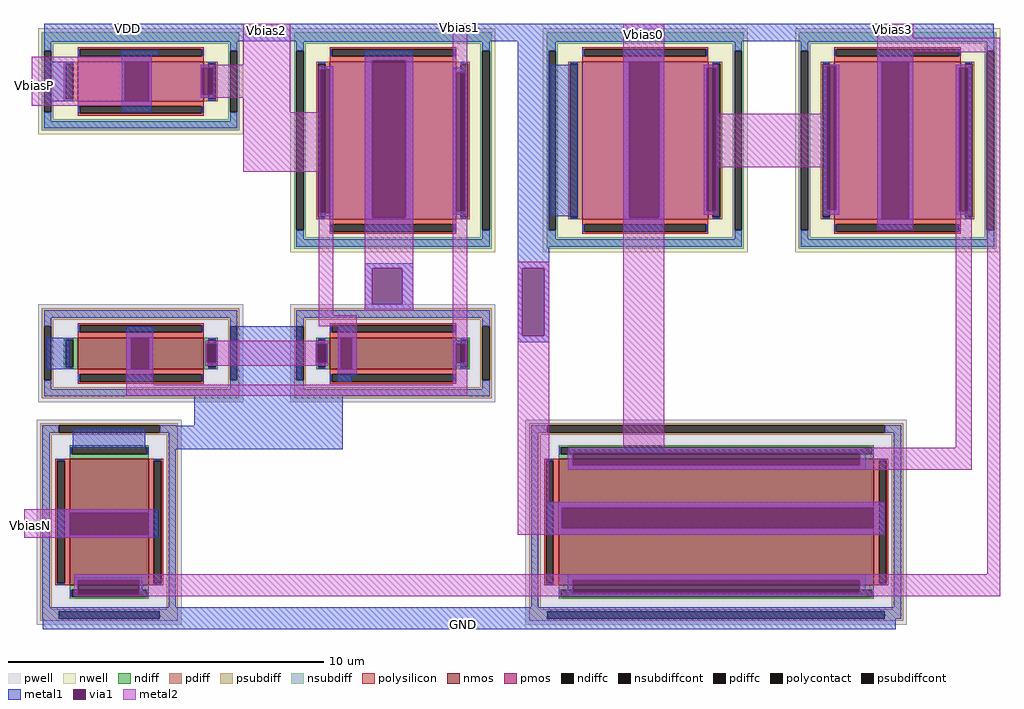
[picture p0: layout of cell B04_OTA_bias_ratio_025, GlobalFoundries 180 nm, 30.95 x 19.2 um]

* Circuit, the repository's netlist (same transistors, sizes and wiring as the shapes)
** sch_path: /foss/designs/AURA-Event-Driven-Mixed-Signal-ASIC-for-Acoustic-Pattern-Detection/analog/B04_OTA_bias_ratio_025.sch
.subckt B04_OTA_bias_ratio_025 VDD Vbias2 Vbias1 Vbias0 Vbias3 GND VbiasP VbiasN
*.PININFO VDD:B Vbias2:O Vbias1:O Vbias0:O Vbias3:O GND:B VbiasP:I VbiasN:I
M1 Vbias1 GND Vbias2 VDD pfet_03v3 L=4u W=5u nf=1
M4 Vbias1 Vbias2 net1 GND nfet_03v3 L=4u W=1u nf=1
M5 net1 Vbias1 GND GND nfet_03v3 L=4u W=1u nf=1
M9 net2 Vbias3 Vbias0 VDD pfet_03v3 L=4u W=5u nf=1
M10 VDD Vbias0 net2 VDD pfet_03v3 L=4u W=5u nf=1
M6 Vbias3 VDD Vbias0 GND nfet_03v3 L=4u W=10u nf=1
M2 Vbias2 VbiasP VDD VDD pfet_03v3 L=4u W=1.25u nf=1
M3 GND VbiasN Vbias3 GND nfet_03v3 L=4u W=2.5u nf=1
.ends

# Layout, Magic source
magic
tech gf180mcuD
magscale 1 2
<< pwell >>
rect 192 -156 200 -150
<< metal1 >>
rect -12 256 1192 278
rect 84 238 132 244
rect 86 230 124 238
rect -10 180 18 230
rect 86 180 90 230
rect 120 180 124 230
rect 394 232 456 244
rect 186 222 204 226
rect 186 188 188 222
rect 202 188 204 222
rect 186 184 204 188
rect 336 220 354 224
rect 86 166 124 180
rect 336 38 338 220
rect 350 38 354 220
rect 336 34 354 38
rect 394 32 404 232
rect 446 32 456 232
rect 506 216 520 222
rect 506 40 510 216
rect 506 36 520 40
rect 394 16 456 32
rect 394 -32 456 -26
rect 394 -78 404 -32
rect 442 -78 456 -32
rect 394 -88 456 -78
rect 588 -32 628 256
rect 722 230 774 244
rect 630 34 664 226
rect 722 32 730 230
rect 768 32 774 230
rect 1044 230 1090 242
rect 824 222 842 226
rect 824 40 828 222
rect 840 40 842 222
rect 824 36 842 40
rect 978 224 996 226
rect 978 42 980 224
rect 992 42 996 224
rect 978 36 996 42
rect 722 16 774 32
rect 1044 30 1050 230
rect 1084 30 1090 230
rect 1144 222 1164 226
rect 1144 40 1148 222
rect 1160 40 1164 222
rect 1144 36 1164 40
rect 1044 16 1090 30
rect 92 -120 126 -106
rect -10 -160 20 -120
rect 92 -160 98 -120
rect 120 -160 126 -120
rect 192 -128 208 -124
rect 192 -152 194 -128
rect 206 -152 208 -128
rect 192 -156 208 -152
rect 92 -174 126 -160
rect 224 -176 314 -106
rect 360 -112 378 -106
rect 360 -120 384 -112
rect 332 -128 348 -124
rect 332 -152 334 -128
rect 346 -152 348 -128
rect 332 -156 348 -152
rect 360 -160 364 -120
rect 378 -160 384 -120
rect 588 -118 594 -32
rect 622 -118 628 -32
rect 506 -128 524 -124
rect 588 -126 628 -118
rect 506 -152 510 -128
rect 522 -152 524 -128
rect 506 -156 524 -152
rect 360 -168 384 -160
rect 360 -176 378 -168
rect 230 -190 308 -176
rect 178 -232 366 -190
rect 24 -260 116 -236
rect 150 -262 366 -232
rect 652 -266 1030 -260
rect 652 -282 658 -266
rect 1022 -282 1030 -266
rect 652 -288 1030 -282
rect 626 -336 1054 -328
rect 6 -342 132 -338
rect 6 -370 20 -342
rect 120 -370 132 -342
rect 626 -362 644 -336
rect 1040 -362 1054 -336
rect 626 -370 1054 -362
rect 6 -374 132 -370
rect 26 -428 112 -424
rect 26 -444 30 -428
rect 108 -444 112 -428
rect 652 -428 1030 -420
rect 652 -444 658 -428
rect 1022 -444 1030 -428
rect 652 -448 1030 -444
rect -14 -490 1068 -462
<< via1 >>
rect 90 180 120 230
rect 188 188 202 222
rect 338 38 350 220
rect 404 32 446 232
rect 510 40 522 216
rect 404 -78 442 -32
rect 730 32 768 230
rect 828 40 840 222
rect 980 42 992 224
rect 1050 30 1084 230
rect 1148 40 1160 222
rect 98 -160 120 -120
rect 194 -152 206 -128
rect 334 -152 346 -128
rect 364 -160 378 -120
rect 594 -118 622 -32
rect 510 -152 522 -128
rect 658 -282 1022 -266
rect 20 -370 120 -342
rect 644 -362 1040 -336
rect 30 -446 108 -428
rect 658 -444 1022 -428
<< metal2 >>
rect -28 230 124 236
rect -28 180 90 230
rect 120 180 124 230
rect 240 226 300 278
rect 186 222 300 226
rect 394 232 456 236
rect 186 188 188 222
rect 202 188 300 222
rect 186 184 300 188
rect -28 174 124 180
rect 240 166 300 184
rect 336 220 354 224
rect 336 166 338 220
rect 240 90 338 166
rect 336 38 338 90
rect 350 38 354 220
rect 336 -92 354 38
rect 394 32 404 232
rect 446 32 456 232
rect 394 -32 456 32
rect 394 -78 404 -32
rect 442 -78 456 -32
rect 394 -86 456 -78
rect 506 216 524 278
rect 506 40 510 216
rect 522 40 524 216
rect 336 -106 384 -92
rect 92 -120 126 -114
rect 92 -160 98 -120
rect 120 -160 126 -120
rect 360 -120 384 -106
rect 192 -128 348 -124
rect 192 -152 194 -128
rect 206 -152 334 -128
rect 346 -152 348 -128
rect 192 -156 348 -152
rect 92 -180 126 -160
rect 360 -160 364 -120
rect 378 -160 384 -120
rect 360 -166 384 -160
rect 506 -128 524 40
rect 722 230 774 278
rect 722 32 730 230
rect 768 32 774 230
rect 1044 260 1090 278
rect 1044 242 1200 260
rect 1044 230 1090 242
rect 824 222 842 226
rect 824 40 828 222
rect 840 164 842 222
rect 976 224 996 226
rect 976 164 980 224
rect 840 96 980 164
rect 840 40 842 96
rect 824 36 842 40
rect 976 42 980 96
rect 992 42 996 224
rect 976 36 996 42
rect 506 -152 510 -128
rect 522 -152 524 -128
rect 506 -180 524 -152
rect 92 -194 524 -180
rect 588 -32 628 -24
rect 588 -118 594 -32
rect 622 -118 628 -32
rect 588 -328 628 -118
rect 722 -260 774 32
rect 1044 30 1050 230
rect 1084 30 1090 230
rect 1044 16 1090 30
rect 1144 222 1164 226
rect 1144 40 1148 222
rect 1160 40 1164 222
rect 1144 -260 1164 40
rect 652 -266 1164 -260
rect 652 -282 658 -266
rect 1022 -282 1164 -266
rect 652 -288 1164 -282
rect 588 -336 1054 -328
rect -38 -342 126 -338
rect -38 -370 20 -342
rect 120 -370 126 -342
rect 588 -362 644 -336
rect 1040 -362 1054 -336
rect 588 -370 1054 -362
rect -38 -374 126 -370
rect 1184 -420 1200 242
rect 26 -428 1200 -420
rect 26 -446 30 -428
rect 108 -444 658 -428
rect 1022 -444 1200 -428
rect 108 -446 1200 -444
rect 26 -448 1200 -446
use pfet_03v3_AERJ7T  XM1 /foss/designs/AURA-Event-Driven-Mixed-Signal-ASIC-for-Acoustic-Pattern-Detection/analog
transform 1 0 430 0 1 130
box -130 -142 130 142
use pfet_03v3_BMV8W2  XM2
transform 1 0 110 0 1 205
box -130 -67 130 67
use nfet_03v3_QUHNY4  XM3
transform 0 1 70 -1 0 -354
box -130 -92 130 92
use nfet_03v3_REC73X  XM4 /foss/designs/AURA-Event-Driven-Mixed-Signal-ASIC-for-Acoustic-Pattern-Detection/analog
transform 1 0 430 0 1 -140
box -130 -62 130 62
use nfet_03v3_REC73X  XM5
transform 1 0 110 0 1 -140
box -130 -62 130 62
use nfet_03v3_GPTQ69  XM6 /foss/designs/AURA-Event-Driven-Mixed-Signal-ASIC-for-Acoustic-Pattern-Detection/analog
transform 0 1 840 -1 0 -354
box -130 -242 130 242
use pfet_03v3_AERJ7T  XM9
transform 1 0 1070 0 1 130
box -130 -142 130 142
use pfet_03v3_AERJ7T  XM10
transform 1 0 750 0 1 130
box -130 -142 130 142
<< labels >>
rlabel metal2 262 266 276 272 1 Vbias2
port 2 n
rlabel metal2 510 270 518 276 1 Vbias1
port 3 n
rlabel metal1 78 270 108 274 1 VDD
port 1 n
rlabel metal2 736 260 760 270 1 Vbias0
port 6 n
rlabel metal2 1052 268 1076 274 1 Vbias3
port 7 n
rlabel metal1 496 -486 544 -482 1 GND
port 8 n
rlabel metal2 -26 196 -24 204 1 VbiasP
port 10 n
rlabel metal2 -32 -362 -28 -356 1 VbiasN
port 11 n
<< end >>

# cell pfet_03v3_AERJ7T: kit device pfet_03v3, w 5 l 4 m 1 nf 1 diffcov 100 polycov 100 guard 1 glc 1 grc 1 gtc 0 gbc 0 tbcov 100 rlcov 100 topc 1 botc 1 poverlap 0 doverlap 1 lmin 0.28 wmin 0.22 class mosfet full_metal 1 compatible {pfet_03v3 pfet_05v0 pfet_06v0}

# cell pfet_03v3_BMV8W2: kit device pfet_03v3, w 1.25 l 4 m 1 nf 1 diffcov 100 polycov 100 guard 1 glc 1 grc 1 gtc 0 gbc 0 tbcov 100 rlcov 100 topc 1 botc 1 poverlap 0 doverlap 1 lmin 0.28 wmin 0.22 class mosfet full_metal 1 compatible {pfet_03v3 pfet_05v0 pfet_06v0}

# cell nfet_03v3_QUHNY4: kit device nfet_03v3, w 2.5 l 4 m 1 nf 1 diffcov 100 polycov 100 guard 1 glc 1 grc 1 gtc 0 gbc 0 tbcov 100 rlcov 100 topc 1 botc 1 poverlap 0 doverlap 1 lmin 0.28 wmin 0.22 class mosfet full_metal 1 compatible {nfet_03v3 nfet_05v0 nfet_06v0 nfet_06v0_nvt}

# cell nfet_03v3_REC73X: kit device nfet_03v3, w 1 l 4 m 1 nf 1 diffcov 100 polycov 100 guard 1 glc 1 grc 1 gtc 0 gbc 0 tbcov 100 rlcov 100 topc 1 botc 1 poverlap 0 doverlap 1 lmin 0.28 wmin 0.22 class mosfet full_metal 1 compatible {nfet_03v3 nfet_05v0 nfet_06v0 nfet_06v0_nvt}

# cell nfet_03v3_GPTQ69: kit device nfet_03v3, w 10 l 4 m 1 nf 1 diffcov 100 polycov 100 guard 1 glc 1 grc 1 gtc 0 gbc 0 tbcov 100 rlcov 100 topc 1 botc 1 poverlap 0 doverlap 1 lmin 0.28 wmin 0.22 class mosfet full_metal 1 compatible {nfet_03v3 nfet_05v0 nfet_06v0 nfet_06v0_nvt}
